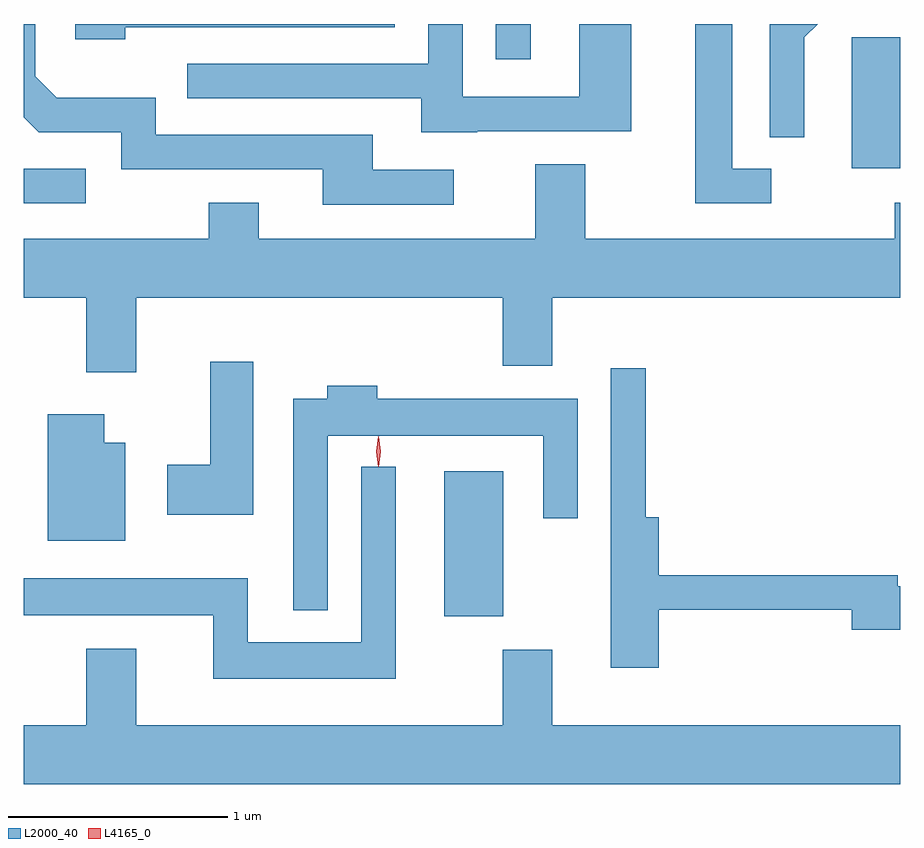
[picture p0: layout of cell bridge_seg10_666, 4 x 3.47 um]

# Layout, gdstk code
import gdstk
lib = gdstk.Library(unit=1e-6, precision=1e-09)
def R(c, l, rs):  # rectangles x0, y0, x1, y1
    for r in rs: c.add(gdstk.rectangle(r[:2], r[2:], *l))
def P(c, l, *ps):  # polygons
    for p in ps: c.add(gdstk.Polygon(p, *l))
L2000_40 = (2000, 40)
L4165_0 = (4165, 0)

bridge_seg10_666 = lib.new_cell('bridge_seg10_666')
R(bridge_seg10_666, L2000_40, [(1043.316,2132.441,1043.584,2133.104), (1041.396,2134.326,1041.678,2134.484), (1045.176,2134.486,1045.396,2135.084), (1043.551,2134.983,1043.709,2135.145)])
P(bridge_seg10_666, L2000_40, [(1044.808,2134.484),(1044.629,2134.484),(1044.629,2135.145),(1044.461,2135.145),(1044.461,2134.326),(1044.808,2134.326)],
  [(1043.358,2134.479),(1042.989,2134.479),(1042.989,2134.639),(1041.999,2134.639),(1041.999,2134.809),(1041.546,2134.809),(1041.449,2134.907),(1041.449,2135.145),(1041.396,2135.145),(1041.396,2134.719),(1041.464,2134.651),(1041.841,2134.651),(1041.841,2134.481),(1042.761,2134.481),(1042.761,2134.321),(1043.358,2134.321)],
  [(1043.465,2134.656),(1044.169,2134.656),(1044.169,2135.145),(1043.931,2135.145),(1043.931,2134.814),(1043.399,2134.814),(1043.399,2135.145),(1043.241,2135.145),(1043.241,2134.964),(1042.142,2134.964),(1042.142,2134.806),(1043.211,2134.806),(1043.211,2134.651),(1043.465,2134.651)],
  [(1041.859,2135.131),(1043.089,2135.131),(1043.089,2135.145),(1041.631,2135.145),(1041.631,2135.076),(1041.859,2135.076)],
  [(1044.959,2135.084),(1045.02,2135.145),(1044.801,2135.145),(1044.801,2134.628),(1044.959,2134.628)],
  [(1041.909,2133.896),(1043.581,2133.896),(1043.581,2133.586),(1043.809,2133.586),(1043.809,2133.896),(1045.396,2133.896),(1045.396,2134.329),(1045.371,2134.329),(1045.371,2134.164),(1043.959,2134.164),(1043.959,2134.504),(1043.731,2134.504),(1043.731,2134.164),(1042.469,2134.164),(1042.469,2134.329),(1042.241,2134.329),(1042.241,2134.164),(1041.396,2134.164),(1041.396,2133.896),(1041.681,2133.896),(1041.681,2133.556),(1041.909,2133.556)],
  [(1042.444,2133.604),(1042.246,2133.604),(1042.246,2133.134),(1042.051,2133.134),(1042.051,2132.906),(1042.444,2132.906)],
  [(1044.294,2132.471),(1045.176,2132.471),(1045.176,2132.381),(1045.396,2132.381),(1045.396,2132.579),(1045.384,2132.579),(1045.384,2132.629),(1044.294,2132.629),(1044.294,2132.894),(1044.234,2132.894),(1044.234,2133.573),(1044.076,2133.573),(1044.076,2132.206),(1044.294,2132.206)],
  [(1042.784,2133.266),(1043.766,2133.266),(1043.766,2132.888),(1043.924,2132.888),(1043.924,2133.434),(1043.009,2133.434),(1043.009,2133.494),(1042.781,2133.494),(1042.781,2133.434),(1042.626,2133.434),(1042.626,2132.468),(1042.784,2132.468)],
  [(1041.859,2133.234),(1041.764,2133.234),(1041.764,2133.364),(1041.506,2133.364),(1041.506,2132.786),(1041.859,2132.786)],
  [(1043.094,2133.123),(1042.936,2133.123),(1042.936,2132.324),(1042.419,2132.324),(1042.419,2132.614),(1041.396,2132.614),(1041.396,2132.446),(1042.261,2132.446),(1042.261,2132.156),(1043.094,2132.156)],
  [(1045.396,2131.944),(1043.809,2131.944),(1043.809,2132.289),(1043.581,2132.289),(1043.581,2131.944),(1041.909,2131.944),(1041.909,2132.294),(1041.681,2132.294),(1041.681,2131.944),(1041.396,2131.944),(1041.396,2131.676),(1045.396,2131.676)])
P(bridge_seg10_666, L4165_0, [(1043.015,2133.127),(1043.014,2133.128),(1043.005,2133.194),(1043.014,2133.26),(1043.015,2133.261),(1043.015,2133.26),(1043.025,2133.194),(1043.015,2133.128)],
  [(1043.014,2133.124),(1043.005,2133.193),(1043.015,2133.262),(1043.016,2133.263),(1043.016,2133.262),(1043.025,2133.193),(1043.015,2133.124),(1043.015,2133.124)])

lib.write_gds('bridge_seg10_666.gds')
